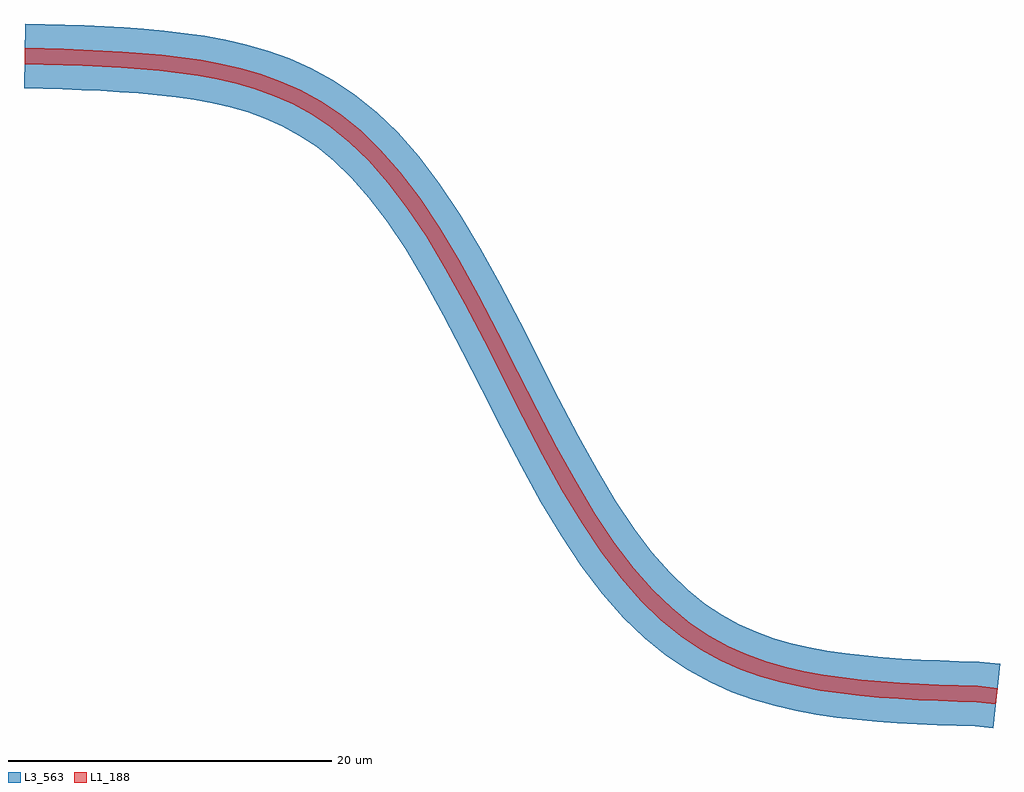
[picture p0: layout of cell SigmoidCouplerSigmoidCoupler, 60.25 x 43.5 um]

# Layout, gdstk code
import gdstk
lib = gdstk.Library(unit=1e-6, precision=1e-09)
L1_188 = (1, 188)
L3_563 = (3, 563)

sigmoidcouplersigmoidcou = lib.new_cell('SigmoidCouplerSigmoidCoupler')
sigmoidcouplersigmoidcou.add(gdstk.FlexPath([(-30,39.509),(-28.8,39.483),(-27.6,39.449),(-26.4,39.406),(-25.2,39.352),(-24,39.284),(-22.8,39.197),(-21.6,39.087),(-20.4,38.948),(-19.2,38.774),(-18,38.554),(-16.8,38.277),(-15.6,37.932),(-14.4,37.502),(-13.2,36.969),(-12,36.313),(-10.8,35.512),(-9.6,34.543),(-8.4,33.385),(-7.2,32.02),(-6,30.439),(-4.8,28.641),(-3.6,26.64),(-2.4,24.467),(-1.2,22.169),(0,19.804),(1.2,17.438),(2.4,15.14),(3.6,12.967),(4.8,10.966),(6,9.168),(7.2,7.587),(8.4,6.222),(9.6,5.064),(10.8,4.095),(12,3.294),(13.2,2.638),(14.4,2.105),(15.6,1.675),(16.8,1.33),(18,1.053),(19.2,0.833),(20.4,0.659),(21.6,0.52),(22.8,0.41),(24,0.323),(25.2,0.255),(26.4,0.201),(27.6,0.158),(28.8,0.124),(30,0)], 1, ends="flush", simple_path=True, layer=1, datatype=188))  # L1_188
sigmoidcouplersigmoidcou.add(gdstk.FlexPath([(-30,39.509),(-28.8,39.483),(-27.6,39.449),(-26.4,39.406),(-25.2,39.352),(-24,39.284),(-22.8,39.197),(-21.6,39.087),(-20.4,38.948),(-19.2,38.774),(-18,38.554),(-16.8,38.277),(-15.6,37.932),(-14.4,37.502),(-13.2,36.969),(-12,36.313),(-10.8,35.512),(-9.6,34.543),(-8.4,33.385),(-7.2,32.02),(-6,30.439),(-4.8,28.641),(-3.6,26.64),(-2.4,24.467),(-1.2,22.169),(0,19.804),(1.2,17.438),(2.4,15.14),(3.6,12.967),(4.8,10.966),(6,9.168),(7.2,7.587),(8.4,6.222),(9.6,5.064),(10.8,4.095),(12,3.294),(13.2,2.638),(14.4,2.105),(15.6,1.675),(16.8,1.33),(18,1.053),(19.2,0.833),(20.4,0.659),(21.6,0.52),(22.8,0.41),(24,0.323),(25.2,0.255),(26.4,0.201),(27.6,0.158),(28.8,0.124),(30,0)], 4, ends="flush", simple_path=True, layer=3, datatype=563))  # L3_563

lib.write_gds('SigmoidCouplerSigmoidCoupler.gds')
